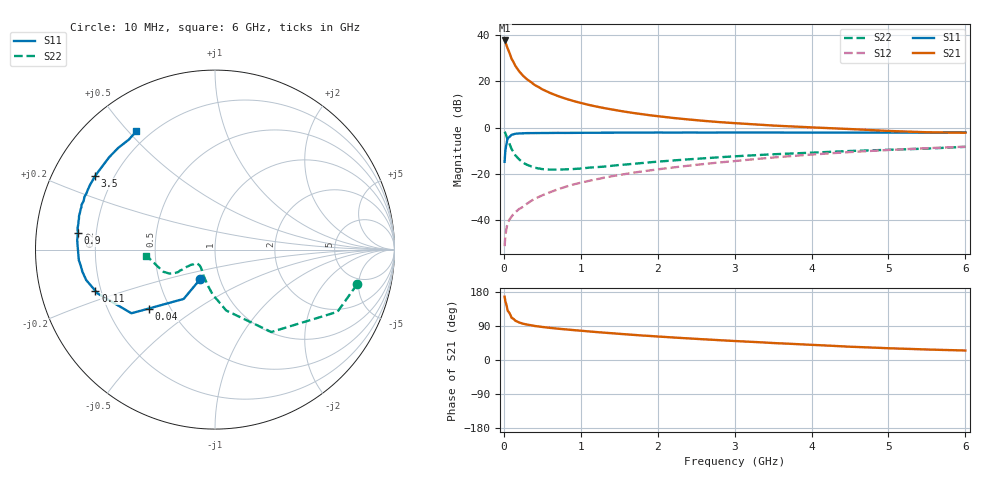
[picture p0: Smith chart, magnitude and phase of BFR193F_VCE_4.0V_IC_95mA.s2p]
! (c) 2017  Infineon Technologies AG, Munich
! Infineon Technologies  Discrete & RF Semiconductors
! BFR193F
! VCE =  4.0 V,  IC =  95 mA
! Common Emitter S-Parameters:  Jan 2017
# GHz  S  MA  R  50
!  f  S11  S21  S12  S22
! GHz  MAG  ANG  MAG  ANG  MAG  ANG  MAG  ANG
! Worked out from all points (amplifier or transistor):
!   77 points, 10 MHz to 6 GHz, reference 50 ohm
!   highest |S21| = 37.8 dB at 10 MHz (marker M1)
!   |S21| within 3 dB of that: start of sweep to 44.09 MHz
!   unconditionally stable (mu >= 1): 426.7 MHz to 2.798 GHz
!   at 130 MHz: K = 0.69, MSG = 32.8 dB, |S12| = -37.4 dB
!   at 2.2 GHz: K = 1.04, MAG = 9.5 dB, |S12| = -17.3 dB
!   at 6 GHz: K = 0.89, MSG = 3.0 dB, |S12| = -8.3 dB
!   S11 on the Smith chart (normalised r, x): 10 MHz: 0.81, -0.27; 40 MHz: 0.38, -0.33; 110 MHz: 0.18, -0.16; 900 MHz: 0.13, +0.06; 3.5 GHz: 0.13, +0.28; 6 GHz: 0.15, +0.53
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0.01  0.1818 -116.4  77.52 167.1  0.0027 81.1  0.8158 -13.6
0.02  0.3254 -122.4  72.12 154.7  0.0046 70.3  0.7654 -26.9
0.04  0.4933 -138.3  57.19 140.1  0.0073 57.9  0.6068 -44.0
0.05  0.5852 -142.7  51.7 129.9  0.0087 54.7  0.556 -55.7
0.1  0.698 -159.5  31.18 111.6  0.0118 54.1  0.3449 -79.6
0.11  0.705 -161.0  29.26 110.4  0.0124 54.5  0.325 -81.6
0.15  0.7375 -166.7  21.75 103.7  0.0147 55.6  0.2511 -92.9
0.2  0.7488 -170.5  16.56 98.9  0.0173 59.1  0.2045 -101.2
0.25  0.7542 -173.5  13.32 95.8  0.0193 62.9  0.1735 -108.7
0.3  0.7609 -175.5  11.19 93.5  0.0224 64.8  0.1571 -114.2
0.4  0.7623 -178.6  8.425 89.8  0.0286 69.0  0.1356 -122.7
0.5  0.7644 179.5  6.766 87.2  0.0341 71.9  0.1264 -128.8
0.7  0.7697 175.8  4.866 82.7  0.046 74.6  0.1231 -136.9
0.9  0.7703 173.0  3.802 79.0  0.0585 76.0  0.1267 -141.8
1.1  0.775 170.7  3.126 75.5  0.0699 76.9  0.1355 -143.9
1.5  0.7799 166.3  2.324 69.1  0.0942 77.1  0.1551 -147.0
2.1  0.7822 160.6  1.697 60.8  0.1308 76.3  0.1887 -148.6
3.1  0.7837 151.9  1.223 49.1  0.1957 73.9  0.2442 -148.9
3.5  0.7841 148.4  1.11 44.8  0.2251 72.3  0.2647 -149.9
4.1  0.7807 142.7  0.996 39.1  0.2678 69.0  0.2916 -153.2
5.1  0.7809 132.4  0.837 30.4  0.3341 62.4  0.3349 -164.2
6  0.7913 123.7  0.775 25.0  0.3867 56.4  0.3835 -174.8
